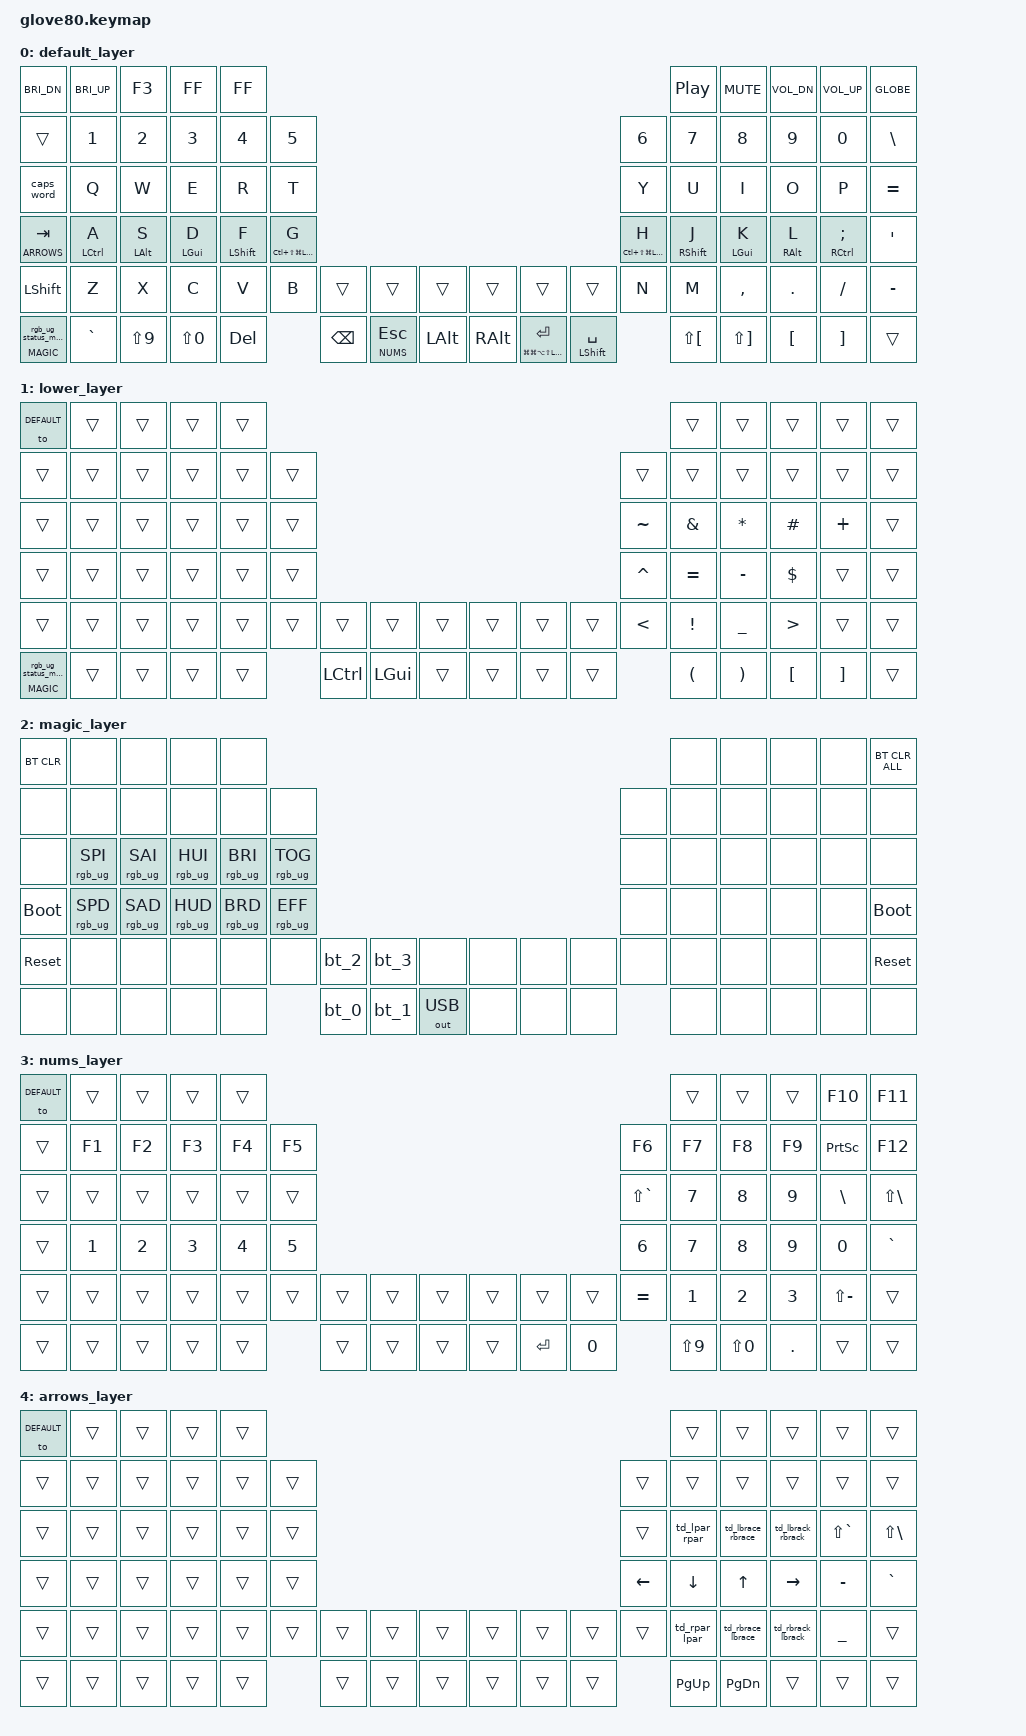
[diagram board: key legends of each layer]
/*
 * Copyright (c) 2020 The ZMK Contributors
 *
 * SPDX-License-Identifier: MIT
 */

#include <behaviors.dtsi>
#include <dt-bindings/zmk/keys.h>
#include <dt-bindings/zmk/bt.h>
#include <dt-bindings/zmk/ext_power.h>
#include <dt-bindings/zmk/outputs.h>
#include <dt-bindings/zmk/rgb.h>

#define HYPER LC(LS(LG(LALT)))

// layers
#define DEFAULT 0
#define LOWER 1
#define MAGIC 2
#define NUMS 3
#define ARROWS 4

// Timing parameters for home row mods
#define TYPING_STREAK_TERM 175
#define KEY_REPEATING_TERM 300
#define REGISTER_MODS_TERM 250
#define THUMB_TAPPING_TERM 200
#define INDEX_SHIFT_TAPPING_TERM 200

// Key positions for hold-tap triggers
#define LEFT_HAND_KEYS      \
          0  1  2  3  4         \
         10 11 12 13 14 15      \
         22 23 24 25 26 27      \
         34 35 36 37 38 39      \
         46 47 48 49 50 51      \
         64 65 66 67 68
#define RIGHT_HAND_KEYS     \
                                           5  6  7  8  9 \
                                       16 17 18 19 20 21 \
                                       28 29 30 31 32 33 \
                                       40 41 42 43 44 45 \
                                       58 59 60 61 62 63 \
                                          75 76 77 78 79
#define THUMB_KEYS          \
                        69 52       57 74                \
                         70 53     56 73                 \
                          71 54   55 72

/ {
    behaviors {
        // Home row mods with balanced flavor
        homey_left: miryoku_home_row_mods_left_hand {
            compatible = "zmk,behavior-hold-tap";
            label = "HOME_ROW_MODS_LEFT_HAND";
            flavor = "balanced";
            hold-trigger-key-positions = <RIGHT_HAND_KEYS THUMB_KEYS>;
            hold-trigger-on-release;
            tapping-term-ms = <REGISTER_MODS_TERM>;
            quick-tap-ms = <KEY_REPEATING_TERM>;
            #binding-cells = <2>;
            bindings = <&kp>, <&kp>;
        };

        homey_right: miryoku_home_row_mods_right_hand {
            compatible = "zmk,behavior-hold-tap";
            label = "HOME_ROW_MODS_RIGHT_HAND";
            flavor = "balanced";
            hold-trigger-key-positions = <LEFT_HAND_KEYS THUMB_KEYS>;
            hold-trigger-on-release;
            tapping-term-ms = <REGISTER_MODS_TERM>;
            quick-tap-ms = <KEY_REPEATING_TERM>;
            #binding-cells = <2>;
            bindings = <&kp>, <&kp>;
        };

        // Hyper key with delay to prevent accidental triggers
        hyper_ht: hyper_hold_tap {
            compatible = "zmk,behavior-hold-tap";
            label = "HYPER_HOLD_TAP";
            #binding-cells = <2>;
            flavor = "tap-preferred";
            tapping-term-ms = <250>;
            quick-tap-ms = <150>;
            require-prior-idle-ms = <150>;
            bindings = <&kp>, <&kp>;
        };

        // Special handling for index finger shifts
        index_left: miryoku_home_row_mods_left_index_shift {
            compatible = "zmk,behavior-hold-tap";
            label = "HOME_ROW_MODS_LEFT_INDEX_SHIFT";
            flavor = "balanced";
            hold-trigger-key-positions = <RIGHT_HAND_KEYS THUMB_KEYS>;
            tapping-term-ms = <INDEX_SHIFT_TAPPING_TERM>;
            quick-tap-ms = <KEY_REPEATING_TERM>;
            #binding-cells = <2>;
            bindings = <&kp>, <&kp>;
        };

        index_right: miryoku_home_row_mods_right_index_shift {
            compatible = "zmk,behavior-hold-tap";
            label = "HOME_ROW_MODS_RIGHT_INDEX_SHIFT";
            flavor = "balanced";
            hold-trigger-key-positions = <LEFT_HAND_KEYS THUMB_KEYS>;
            tapping-term-ms = <INDEX_SHIFT_TAPPING_TERM>;
            quick-tap-ms = <KEY_REPEATING_TERM>;
            #binding-cells = <2>;
            bindings = <&kp>, <&kp>;
        };

        // Thumb layer switching with repeat
        thumb: miryoku_thumb_layer {
            compatible = "zmk,behavior-hold-tap";
            label = "MIRYOKU_LAYER_TAP_WITH_REPEAT";
            flavor = "balanced";
            tapping-term-ms = <THUMB_TAPPING_TERM>;
            quick-tap-ms = <KEY_REPEATING_TERM>;
            #binding-cells = <2>;
            bindings = <&mo>, <&kp>;
        };

        // Layer tap dance
        layer_td: tap_dance_0 {
            compatible = "zmk,behavior-tap-dance";
            label = "LAYER_TAP_DANCE";
            #binding-cells = <0>;
            tapping-term-ms = <200>;
            bindings = <&mo LOWER>, <&to LOWER>;
        };

        magic: magic_hold_tap {
            compatible = "zmk,behavior-hold-tap";
            label = "MAGIC_HOLD_TAP";
            #binding-cells = <2>;
            flavor = "tap-preferred";
            tapping-term-ms = <200>;
            bindings = <&mo>, <&rgb_ug_status_macro>;
        };

        // Tap-dance for brackets/braces
        td_lbrace_rbrace: tap_dance_lbrace_rbrace {
            compatible = "zmk,behavior-tap-dance";
            label = "TD_LBRACE_RBRACE";
            #binding-cells = <0>;
            tapping-term-ms = <200>;
            bindings = <&kp LS(LBKT)>, <&kp LS(RBKT)>;
        };

        td_lbrack_rbrack: tap_dance_lbrack_rbrack {
            compatible = "zmk,behavior-tap-dance";
            label = "TD_LBRACK_RBRACK";
            #binding-cells = <0>;
            tapping-term-ms = <200>;
            bindings = <&kp LBKT>, <&kp RBKT>;
        };

        td_rbrace_lbrace: tap_dance_rbrace_lbrace {
            compatible = "zmk,behavior-tap-dance";
            label = "TD_RBRACE_LBRACE";
            #binding-cells = <0>;
            tapping-term-ms = <200>;
            bindings = <&kp LS(RBKT)>, <&kp LS(LBKT)>;
        };

        td_rbrack_lbrack: tap_dance_rbrack_lbrack {
            compatible = "zmk,behavior-tap-dance";
            label = "TD_RBRACK_LBRACK";
            #binding-cells = <0>;
            tapping-term-ms = <200>;
            bindings = <&kp RBKT>, <&kp LBKT>;
        };

        // Tap dance for backspace (single tap: backspace, double tap: alt+backspace)
        td_backspace: tap_dance_backspace {
            compatible = "zmk,behavior-tap-dance";
            label = "TD_BACKSPACE";
            #binding-cells = <0>;
            tapping-term-ms = <200>;
            bindings = <&kp BSPC>, <&del_word>;
        };

        // Tap dance for parentheses: ( )
        td_lpar_rpar: tap_dance_lpar_rpar {
            compatible = "zmk,behavior-tap-dance";
            label = "TD_LPAR_RPAR";
            #binding-cells = <0>;
            tapping-term-ms = <200>;
            bindings = <&kp LS(N9)>, <&kp LS(N0)>;
        };

        // Tap dance for parentheses: ) (
        td_rpar_lpar: tap_dance_rpar_lpar {
            compatible = "zmk,behavior-tap-dance";
            label = "TD_RPAR_LPAR";
            #binding-cells = <0>;
            tapping-term-ms = <200>;
            bindings = <&kp LS(N0)>, <&kp LS(N9)>;
        };

        // Fast space bar with shift mod-tap
        // balanced flavor + retro-tap: releasing hold without another key still emits space
        // generous quick-tap prevents stuck state on rapid hold→release→tap sequences
        space_mt: space_mod_tap {
            compatible = "zmk,behavior-hold-tap";
            label = "SPACE_MOD_TAP";
            flavor = "balanced";
            tapping-term-ms = <200>;
            quick-tap-ms = <200>;
            retro-tap;
            #binding-cells = <2>;
            bindings = <&kp>, <&kp>;
        };
    };

    macros {
        rgb_ug_status_macro: rgb_ug_status_macro_0 {
            label = "RGB_UG_STATUS";
            compatible = "zmk,behavior-macro";
            #binding-cells = <0>;
            bindings
                = <&rgb_ug RGB_STATUS>;
        };

        bt_0: bt_profile_macro_0 {
            label = "BT_0";
            compatible = "zmk,behavior-macro";
            #binding-cells = <0>;
            bindings
                = <&out OUT_BLE>,
                  <&bt BT_SEL 0>;
        };

        bt_1: bt_profile_macro_1 {
            label = "BT_1";
            compatible = "zmk,behavior-macro";
            #binding-cells = <0>;
            bindings
                = <&out OUT_BLE>,
                  <&bt BT_SEL 1>;
        };

        bt_2: bt_profile_macro_2 {
            label = "BT_2";
            compatible = "zmk,behavior-macro";
            #binding-cells = <0>;
            bindings
                = <&out OUT_BLE>,
                  <&bt BT_SEL 2>;
        };

        bt_3: bt_profile_macro_3 {
            label = "BT_3";
            compatible = "zmk,behavior-macro";
            #binding-cells = <0>;
            bindings
                = <&out OUT_BLE>,
                  <&bt BT_SEL 3>;
        };

        del_word: macro_del_word {
            compatible = "zmk,behavior-macro";
            label = "MACRO_DEL_WORD";
            #binding-cells = <0>;
            wait-ms = <0>;
            tap-ms = <0>;
            bindings = <&macro_press &kp LALT>, <&macro_tap &kp BSPC>, <&macro_release &kp LALT>;
        };
    };

    keymap {
        compatible = "zmk,keymap";

        default_layer {
            bindings = <
            &kp C_BRI_DN         &kp C_BRI_UP              &kp F3            &kp C_FF             &kp C_FF                                                                                                                 &kp C_PP           &kp C_MUTE         &kp C_VOL_DN             &kp C_VOL_UP  &kp GLOBE
               &trans               &kp N1              &kp N2              &kp N3               &kp N4  &kp N5                                                                                     &kp N6                &kp N7               &kp N8               &kp N9                   &kp N0   &kp BSLH
           &caps_word                &kp Q               &kp W               &kp E                &kp R   &kp T                                                                                      &kp Y                 &kp U                &kp I                &kp O                    &kp P  &kp EQUAL
            &lt ARROWS TAB  &homey_left LCTRL A  &homey_left LALT S  &homey_left LGUI D  &index_left LSHFT F   &hyper_ht HYPER G                                                                          &hyper_ht HYPER H  &index_right RSHFT J  &homey_right LGUI K  &homey_right RALT L  &homey_right RCTRL SEMI    &kp SQT
            &kp LSHFT                &kp Z               &kp X               &kp C                &kp V   &kp B    &trans     &trans    &trans    &trans                         &trans     &trans   &kp N                 &kp M            &kp COMMA              &kp DOT                 &kp FSLH  &kp MINUS
 &magic MAGIC 0            &kp GRAVE          &kp LS(N9)          &kp LS(N0)              &kp DEL          &kp BSPC  &lt NUMS ESC  &kp LALT  &kp RALT  &mt LG(LG(LA(LS(LCTRL)))) RET  &space_mt LSHFT SPACE                  &kp LS(LBKT)         &kp LS(RBKT)             &kp LBKT                 &kp RBKT     &trans
            >;
        };

        lower_layer {
            bindings = <
                &to DEFAULT  &trans  &trans  &trans  &trans                                                                             &trans     &trans    &trans    &trans  &trans
               &trans  &trans  &trans  &trans  &trans  &trans                                                          &trans     &trans     &trans    &trans    &trans  &trans
               &trans  &trans  &trans  &trans  &trans  &trans                                                       &kp TILDE   &kp AMPS   &kp STAR  &kp HASH  &kp PLUS  &trans
               &trans  &trans  &trans  &trans  &trans  &trans                                                       &kp CARET  &kp EQUAL  &kp MINUS  &kp DLLR    &trans  &trans
               &trans  &trans  &trans  &trans  &trans  &trans     &trans    &trans  &trans  &trans  &trans  &trans     &kp LT   &kp EXCL  &kp UNDER    &kp GT    &trans  &trans
 &magic MAGIC 0  &trans  &trans  &trans  &trans          &kp LCTRL  &kp LGUI  &trans  &trans  &trans  &trans              &kp LPAR   &kp RPAR  &kp LBKT  &kp RBKT  &trans
            >;
        };

        magic_layer {
            bindings = <
            &bt BT_CLR        &none               &none           &none           &none                                                                                                           &none      &none      &none      &none      &bt BT_CLR_ALL
            &none             &none               &none           &none           &none           &none                                                                                &none      &none      &none      &none      &none      &none
            &none             &rgb_ug RGB_SPI     &rgb_ug RGB_SAI &rgb_ug RGB_HUI &rgb_ug RGB_BRI &rgb_ug RGB_TOG                                                                      &none      &none      &none      &none      &none      &none
            &bootloader       &rgb_ug RGB_SPD     &rgb_ug RGB_SAD &rgb_ug RGB_HUD &rgb_ug RGB_BRD &rgb_ug RGB_EFF                                                                      &none      &none      &none      &none      &none      &bootloader
            &sys_reset        &none               &none           &none           &none           &none           &bt_2     &bt_3     &none            &none     &none     &none       &none      &none      &none      &none      &none      &sys_reset
            &none             &none               &none           &none           &none                           &bt_0     &bt_1     &out OUT_USB     &none     &none     &none                  &none      &none      &none      &none      &none
            >;
        };

        nums_layer {
            bindings = <
  &to DEFAULT     &trans    &trans    &trans     &trans                                                                              &trans      &trans   &trans        &kp F10       &kp F11
 &trans     &kp F1    &kp F2    &kp F3     &kp F4  &kp F5                                                          &kp F6      &kp F7      &kp F8   &kp F9      &kp PSCRN       &kp F12
 &trans     &trans    &trans    &trans     &trans  &trans                                                   &kp LS(GRAVE)      &kp N7      &kp N8   &kp N9       &kp BSLH  &kp LS(BSLH)
 &trans     &kp N1     &kp N2    &kp N3     &kp N4  &kp N5                                                          &kp N6      &kp N7      &kp N8   &kp N9         &kp N0     &kp GRAVE
 &trans     &trans    &trans    &trans     &trans  &trans  &trans  &trans  &trans  &trans   &trans  &trans      &kp EQUAL      &kp N1      &kp N2   &kp N3  &kp LS(MINUS)        &trans
 &trans     &trans    &trans    &trans     &trans          &trans  &trans  &trans  &trans  &kp RET  &kp N0                 &kp LS(N9)  &kp LS(N0)  &kp DOT         &trans        &trans
            >;
        };

        arrows_layer {
            bindings = <
  &to DEFAULT  &trans  &trans  &trans  &trans                                                                        &trans        &trans     &trans         &trans        &trans
 &trans  &trans  &trans  &trans  &trans  &trans                                                    &trans      &trans        &trans     &trans         &trans        &trans
 &trans  &trans  &trans  &trans  &trans  &trans                                                    &trans  &td_lpar_rpar  &td_lbrace_rbrace   &td_lbrack_rbrack  &kp LS(GRAVE)  &kp LS(BSLH)
 &trans  &trans  &trans  &trans  &trans  &trans                                                  &kp LEFT    &kp DOWN        &kp UP  &kp RIGHT      &kp MINUS     &kp GRAVE
 &trans  &trans  &trans  &trans  &trans  &trans  &trans  &trans  &trans  &trans  &trans  &trans    &trans  &td_rpar_lpar  &td_rbrace_lbrace   &td_rbrack_lbrack      &kp UNDER        &trans
 &trans  &trans  &trans  &trans  &trans          &trans  &trans  &trans  &trans  &trans  &trans             &kp PG_UP     &kp PG_DN     &trans         &trans        &trans
            >;
        };
    };
};
